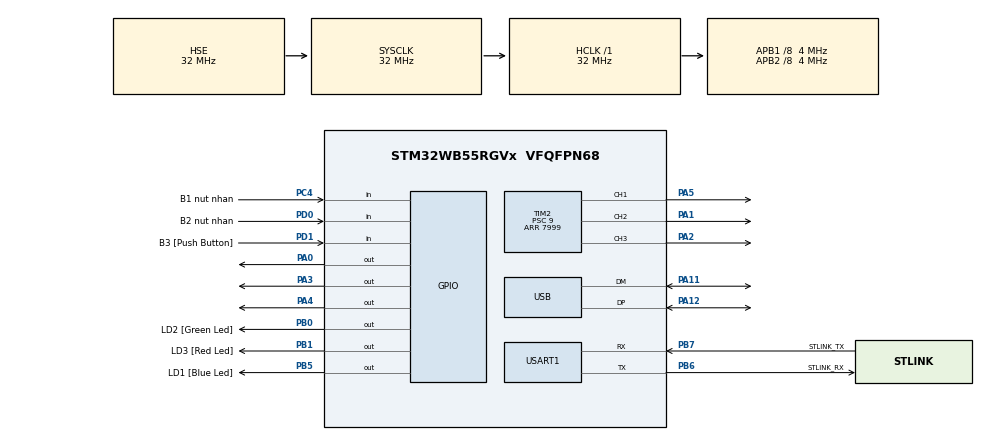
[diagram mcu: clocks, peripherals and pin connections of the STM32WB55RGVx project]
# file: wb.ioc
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Mcu.Family=STM32WB
Mcu.Name=STM32WB55RGVx
Mcu.Package=VFQFPN68
NVIC.PriorityGroup=NVIC_PRIORITYGROUP_4
NVIC.TIM1_TRG_COM_TIM17_IRQn=true\:0\:0\:false\:false\:true\:true\:true\:true
NVIC.TIM1_UP_TIM16_IRQn=true\:0\:0\:false\:false\:true\:true\:true\:true
NVIC.TIM2_IRQn=true\:0\:0\:false\:false\:true\:true\:true\:true
OSC_IN.Mode=HSE-External-Oscillator
OSC_IN.Signal=RCC_OSC_IN
OSC_OUT.Mode=HSE-External-Oscillator
OSC_OUT.Signal=RCC_OSC_OUT
PA0.Signal=GPIO_Output
PA1.Signal=S_TIM2_CH2
PA11.Mode=Device
PA11.Signal=USB_DM
PA12.Mode=Device
PA12.Signal=USB_DP
PA13.GPIO_Label=JTMS
PA13.Mode=Trace_Asynchronous_SW
PA13.Signal=SYS_JTMS-SWDIO
PA14.GPIO_Label=JTCK
PA14.Mode=Trace_Asynchronous_SW
PA14.Signal=SYS_JTCK-SWCLK
PA2.Signal=S_TIM2_CH3
PA3.PinState=GPIO_PIN_RESET
PA3.Signal=GPIO_Output
PA4.PinState=GPIO_PIN_RESET
PA4.Signal=GPIO_Output
PA5.Signal=S_TIM2_CH1
PB0.GPIO_Label=LD2 [Green Led]
PB0.Signal=GPIO_Output
PB1.GPIO_Label=LD3 [Red Led]
PB1.Signal=GPIO_Output
PB3.GPIO_Label=JTDO
PB3.Mode=Trace_Asynchronous_SW
PB3.Signal=SYS_JTDO-SWO
PB5.GPIO_Label=LD1 [Blue Led]
PB5.Signal=GPIO_Output
PB6.GPIO_Label=STLINK_RX
PB6.GPIO_PuPd=GPIO_PULLUP
PB6.Mode=Asynchronous
PB6.Signal=USART1_TX
PB7.GPIO_Label=STLINK_TX
PB7.GPIO_PuPd=GPIO_PULLUP
PB7.Mode=Asynchronous
PB7.Signal=USART1_RX
PC13.Mode=SYS_WakeUp1
PC13.Signal=SYS_WKUP2
PC14-OSC32_IN.Mode=LSE-External-Oscillator
PC14-OSC32_IN.Signal=RCC_OSC32_IN
PC15-OSC32_OUT.Mode=LSE-External-Oscillator
PC15-OSC32_OUT.Signal=RCC_OSC32_OUT
PC4.GPIO_Label=B1 nut nhan
PC4.Signal=GPIO_Input
PD0.GPIO_Label=B2 nut nhan
PD0.Signal=GPIO_Input
PD1.GPIO_Label=B3 [Push Button]
PD1.Signal=GPIO_Input
ProjectManager.HeapSize=0x200
ProjectManager.StackSize=0x400
ProjectManager.TargetToolchain=STM32CubeIDE
RCC.ADCFreq_Value=48000000
RCC.AHB2CLKDivider=RCC_SYSCLK_DIV4
RCC.AHBFreq_Value=32000000
RCC.APB1CLKDivider=RCC_HCLK_DIV8
RCC.APB1Freq_Value=4000000
RCC.APB1TimFreq_Value=8000000
RCC.APB2CLKDivider=RCC_HCLK_DIV8
RCC.APB2Freq_Value=4000000
RCC.APB2TimFreq_Value=8000000
RCC.APB3Freq_Value=16000000
RCC.CortexFreq_Value=32000000
RCC.HCLKFreq_Value=32000000
RCC.HSE_VALUE=32000000
RCC.HSI48_VALUE=48000000
RCC.HSI_VALUE=16000000
RCC.LSE_Drive_Capability=RCC_LSEDRIVE_LOW
RCC.PLLN=32
RCC.PLLSAI1N=24
RCC.SMPSCLockSelectionVirtual=RCC_SMPSCLKSOURCE_HSI
RCC.SMPSCLockSelectionVirtualVirtual=RCC_SMPSCLKSOURCE_HSI
RCC.SMPSDivider=1
RCC.SYSCLKFreq_VALUE=32000000
RCC.SYSCLKSource=RCC_SYSCLKSOURCE_HSE
RCC.USBFreq_Value=48000000
RCC.VCOOutputFreq_Value=128000000
SH.S_TIM2_CH1.0=TIM2_CH1,PWM Generation1 CH1
SH.S_TIM2_CH2.0=TIM2_CH2,PWM Generation2 CH2
SH.S_TIM2_CH3.0=TIM2_CH3,PWM Generation3 CH3
TIM1.Period=15999
TIM1.Prescaler=9
TIM16.Period=1999
TIM16.Prescaler=9
TIM17.Period=15999
TIM17.Prescaler=9
TIM2.Channel-PWM\ Generation1\ CH1=TIM_CHANNEL_1
TIM2.Channel-PWM\ Generation2\ CH2=TIM_CHANNEL_2
TIM2.Channel-PWM\ Generation3\ CH3=TIM_CHANNEL_3
TIM2.Period=7999
TIM2.Prescaler=9
TIM2.Pulse-PWM\ Generation1\ CH1=1599
TIM2.Pulse-PWM\ Generation2\ CH2=6000
TIM2.Pulse-PWM\ Generation3\ CH3=250
USART1.VirtualMode-Asynchronous=VM_ASYNC
USART1.WordLength=WORDLENGTH_8B
VP_MEMORYMAP_VS_MEMORYMAP.Mode=CurAppReg
VP_TIM16_VS_ClockSourceINT.Mode=Enable_Timer
VP_TIM17_VS_ClockSourceINT.Mode=Enable_Timer
VP_TIM1_VS_ClockSourceINT.Mode=Internal
VP_TIM2_VS_ClockSourceINT.Mode=Internal
board=NUCLEO-WB55RG

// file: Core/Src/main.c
/* USER CODE BEGIN Header */
/**
  ******************************************************************************
  * @file           : main.c
  * @brief          : Main program body
  ******************************************************************************
  * @attention
  *
  * Copyright (c) 2023 STMicroelectronics.
  * All rights reserved.
  *
  * This software is licensed under terms that can be found in the LICENSE file
  * in the root directory of this software component.
  * If no LICENSE file comes with this software, it is provided AS-IS.
  *
  ******************************************************************************
  */
/* USER CODE END Header */
#include "main.h"

TIM_HandleTypeDef htim1;
TIM_HandleTypeDef htim2;
TIM_HandleTypeDef htim16;
TIM_HandleTypeDef htim17;

UART_HandleTypeDef huart1;

PCD_HandleTypeDef hpcd_USB_FS;

void SystemClock_Config(void);
void PeriphCommonClock_Config(void);
static void MX_GPIO_Init(void);
static void MX_USART1_UART_Init(void);
static void MX_USB_PCD_Init(void);
static void MX_MEMORYMAP_Init(void);
static void MX_TIM2_Init(void);
static void MX_TIM1_Init(void);
static void MX_TIM16_Init(void);
static void MX_TIM17_Init(void);

int main(void)
{

  /* MCU Configuration--------------------------------------------------------*/

  /* Reset of all peripherals, Initializes the Flash interface and the Systick. */
  HAL_Init();

  /* Configure the system clock */
  SystemClock_Config();

/* Configure the peripherals common clocks */
  PeriphCommonClock_Config();

  /* Initialize all configured peripherals */
  MX_GPIO_Init();
  MX_USART1_UART_Init();
  MX_USB_PCD_Init();
  MX_MEMORYMAP_Init();
  MX_TIM2_Init();
  MX_TIM1_Init();
  MX_TIM16_Init();
  MX_TIM17_Init();
  /* USER CODE BEGIN 2 */
  HAL_TIM_Base_Start_IT(&htim2);
  HAL_TIM_Base_Start_IT(&htim16);
  HAL_TIM_Base_Start_IT(&htim17);
  HAL_TIM_Base_Start_IT(&htim1);
  HAL_TIM_PWM_Start(&htim2,TIM_CHANNEL_1);
  HAL_TIM_PWM_Start(&htim2,TIM_CHANNEL_2);
  //HAL_TIM_PWM_Start(&htim2,TIM_CHANNEL_3);
  uint16_t var=0,var1=0,var2=0;
  /* USER CODE END 2 */

  /* Infinite loop */
  /* USER CODE BEGIN WHILE */
  while (1)
  {
	  __HAL_TIM_SET_COMPARE(&htim2,TIM_CHANNEL_1,var);
	  __HAL_TIM_SET_COMPARE(&htim2,TIM_CHANNEL_2,var1);
	 // __HAL_TIM_SET_COMPARE(&htim2,TIM_CHANNEL_3,var2);
	  var++;

	 // var2 = var2 + 30;
	  if( var==7999)
	  {

		  HAL_GPIO_WritePin(GPIOA,GPIO_PIN_0,SET);
		  HAL_Delay(200);
		  HAL_GPIO_WritePin(GPIOA,GPIO_PIN_0,RESET);

	  }
    /* USER CODE END WHILE */

  }
}

void SystemClock_Config(void)
{
  RCC_OscInitTypeDef RCC_OscInitStruct = {0};
  RCC_ClkInitTypeDef RCC_ClkInitStruct = {0};

  /** Macro to configure the PLL multiplication factor
  */
  __HAL_RCC_PLL_PLLM_CONFIG(RCC_PLLM_DIV1);

  /** Macro to configure the PLL clock source
  */
  __HAL_RCC_PLL_PLLSOURCE_CONFIG(RCC_PLLSOURCE_MSI);

  /** Configure LSE Drive Capability
  */
  HAL_PWR_EnableBkUpAccess();
  __HAL_RCC_LSEDRIVE_CONFIG(RCC_LSEDRIVE_LOW);

  /** Configure the main internal regulator output voltage
  */
  __HAL_PWR_VOLTAGESCALING_CONFIG(PWR_REGULATOR_VOLTAGE_SCALE1);

  /** Initializes the RCC Oscillators according to the specified parameters
  * in the RCC_OscInitTypeDef structure.
  */
  RCC_OscInitStruct.OscillatorType = RCC_OSCILLATORTYPE_HSI|RCC_OSCILLATORTYPE_HSE
                              |RCC_OSCILLATORTYPE_LSE|RCC_OSCILLATORTYPE_MSI;
  RCC_OscInitStruct.HSEState = RCC_HSE_ON;
  RCC_OscInitStruct.LSEState = RCC_LSE_ON;
  RCC_OscInitStruct.HSIState = RCC_HSI_ON;
  RCC_OscInitStruct.MSIState = RCC_MSI_ON;
  RCC_OscInitStruct.HSICalibrationValue = RCC_HSICALIBRATION_DEFAULT;
  RCC_OscInitStruct.MSICalibrationValue = RCC_MSICALIBRATION_DEFAULT;
  RCC_OscInitStruct.MSIClockRange = RCC_MSIRANGE_6;
  RCC_OscInitStruct.PLL.PLLState = RCC_PLL_NONE;
  if (HAL_RCC_OscConfig(&RCC_OscInitStruct) != HAL_OK)
  {
    Error_Handler();
  }

  /** Configure the SYSCLKSource, HCLK, PCLK1 and PCLK2 clocks dividers
  */
  RCC_ClkInitStruct.ClockType = RCC_CLOCKTYPE_HCLK4|RCC_CLOCKTYPE_HCLK2
                              |RCC_CLOCKTYPE_HCLK|RCC_CLOCKTYPE_SYSCLK
                              |RCC_CLOCKTYPE_PCLK1|RCC_CLOCKTYPE_PCLK2;
  RCC_ClkInitStruct.SYSCLKSource = RCC_SYSCLKSOURCE_HSE;
  RCC_ClkInitStruct.AHBCLKDivider = RCC_SYSCLK_DIV1;
  RCC_ClkInitStruct.APB1CLKDivider = RCC_HCLK_DIV8;
  RCC_ClkInitStruct.APB2CLKDivider = RCC_HCLK_DIV8;
  RCC_ClkInitStruct.AHBCLK2Divider = RCC_SYSCLK_DIV4;
  RCC_ClkInitStruct.AHBCLK4Divider = RCC_SYSCLK_DIV1;

  if (HAL_RCC_ClockConfig(&RCC_ClkInitStruct, FLASH_LATENCY_1) != HAL_OK)
  {
    Error_Handler();
  }

  /** Enable MSI Auto calibration
  */
  HAL_RCCEx_EnableMSIPLLMode();
}

void PeriphCommonClock_Config(void)
{
  RCC_PeriphCLKInitTypeDef PeriphClkInitStruct = {0};

  /** Initializes the peripherals clock
  */
  PeriphClkInitStruct.PeriphClockSelection = RCC_PERIPHCLK_SMPS;
  PeriphClkInitStruct.SmpsClockSelection = RCC_SMPSCLKSOURCE_HSI;
  PeriphClkInitStruct.SmpsDivSelection = RCC_SMPSCLKDIV_RANGE0;

  if (HAL_RCCEx_PeriphCLKConfig(&PeriphClkInitStruct) != HAL_OK)
  {
    Error_Handler();
  }
}

static void MX_MEMORYMAP_Init(void)
{

}

static void MX_TIM1_Init(void)
{

  TIM_ClockConfigTypeDef sClockSourceConfig = {0};
  TIM_MasterConfigTypeDef sMasterConfig = {0};

  htim1.Instance = TIM1;
  htim1.Init.Prescaler = 9;
  htim1.Init.CounterMode = TIM_COUNTERMODE_UP;
  htim1.Init.Period = 15999;
  htim1.Init.ClockDivision = TIM_CLOCKDIVISION_DIV1;
  htim1.Init.RepetitionCounter = 0;
  htim1.Init.AutoReloadPreload = TIM_AUTORELOAD_PRELOAD_DISABLE;
  if (HAL_TIM_Base_Init(&htim1) != HAL_OK)
  {
    Error_Handler();
  }
  sClockSourceConfig.ClockSource = TIM_CLOCKSOURCE_INTERNAL;
  if (HAL_TIM_ConfigClockSource(&htim1, &sClockSourceConfig) != HAL_OK)
  {
    Error_Handler();
  }
  sMasterConfig.MasterOutputTrigger = TIM_TRGO_RESET;
  sMasterConfig.MasterOutputTrigger2 = TIM_TRGO2_RESET;
  sMasterConfig.MasterSlaveMode = TIM_MASTERSLAVEMODE_DISABLE;
  if (HAL_TIMEx_MasterConfigSynchronization(&htim1, &sMasterConfig) != HAL_OK)
  {
    Error_Handler();
  }

}

static void MX_TIM2_Init(void)
{

  TIM_ClockConfigTypeDef sClockSourceConfig = {0};
  TIM_MasterConfigTypeDef sMasterConfig = {0};
  TIM_OC_InitTypeDef sConfigOC = {0};

  htim2.Instance = TIM2;
  htim2.Init.Prescaler = 9;
  htim2.Init.CounterMode = TIM_COUNTERMODE_UP;
  htim2.Init.Period = 7999;
  htim2.Init.ClockDivision = TIM_CLOCKDIVISION_DIV1;
  htim2.Init.AutoReloadPreload = TIM_AUTORELOAD_PRELOAD_DISABLE;
  if (HAL_TIM_Base_Init(&htim2) != HAL_OK)
  {
    Error_Handler();
  }
  sClockSourceConfig.ClockSource = TIM_CLOCKSOURCE_INTERNAL;
  if (HAL_TIM_ConfigClockSource(&htim2, &sClockSourceConfig) != HAL_OK)
  {
    Error_Handler();
  }
  if (HAL_TIM_PWM_Init(&htim2) != HAL_OK)
  {
    Error_Handler();
  }
  sMasterConfig.MasterOutputTrigger = TIM_TRGO_RESET;
  sMasterConfig.MasterSlaveMode = TIM_MASTERSLAVEMODE_DISABLE;
  if (HAL_TIMEx_MasterConfigSynchronization(&htim2, &sMasterConfig) != HAL_OK)
  {
    Error_Handler();
  }
  sConfigOC.OCMode = TIM_OCMODE_PWM1;
  sConfigOC.Pulse = 1599;
  sConfigOC.OCPolarity = TIM_OCPOLARITY_HIGH;
  sConfigOC.OCFastMode = TIM_OCFAST_DISABLE;
  if (HAL_TIM_PWM_ConfigChannel(&htim2, &sConfigOC, TIM_CHANNEL_1) != HAL_OK)
  {
    Error_Handler();
  }
  sConfigOC.Pulse = 6000;
  if (HAL_TIM_PWM_ConfigChannel(&htim2, &sConfigOC, TIM_CHANNEL_2) != HAL_OK)
  {
    Error_Handler();
  }
  sConfigOC.Pulse = 0;
  if (HAL_TIM_PWM_ConfigChannel(&htim2, &sConfigOC, TIM_CHANNEL_3) != HAL_OK)
  {
    Error_Handler();
  }
  HAL_TIM_MspPostInit(&htim2);

}

static void MX_TIM16_Init(void)
{

  htim16.Instance = TIM16;
  htim16.Init.Prescaler = 9;
  htim16.Init.CounterMode = TIM_COUNTERMODE_UP;
  htim16.Init.Period = 1999;
  htim16.Init.ClockDivision = TIM_CLOCKDIVISION_DIV1;
  htim16.Init.RepetitionCounter = 0;
  htim16.Init.AutoReloadPreload = TIM_AUTORELOAD_PRELOAD_DISABLE;
  if (HAL_TIM_Base_Init(&htim16) != HAL_OK)
  {
    Error_Handler();
  }

}

static void MX_TIM17_Init(void)
{

  htim17.Instance = TIM17;
  htim17.Init.Prescaler = 9;
  htim17.Init.CounterMode = TIM_COUNTERMODE_UP;
  htim17.Init.Period = 15999;
  htim17.Init.ClockDivision = TIM_CLOCKDIVISION_DIV1;
  htim17.Init.RepetitionCounter = 0;
  htim17.Init.AutoReloadPreload = TIM_AUTORELOAD_PRELOAD_DISABLE;
  if (HAL_TIM_Base_Init(&htim17) != HAL_OK)
  {
    Error_Handler();
  }

}

static void MX_USART1_UART_Init(void)
{

  huart1.Instance = USART1;
  huart1.Init.BaudRate = 115200;
  huart1.Init.WordLength = UART_WORDLENGTH_8B;
  huart1.Init.StopBits = UART_STOPBITS_1;
  huart1.Init.Parity = UART_PARITY_NONE;
  huart1.Init.Mode = UART_MODE_TX_RX;
  huart1.Init.HwFlowCtl = UART_HWCONTROL_NONE;
  huart1.Init.OverSampling = UART_OVERSAMPLING_16;
  huart1.Init.OneBitSampling = UART_ONE_BIT_SAMPLE_DISABLE;
  huart1.Init.ClockPrescaler = UART_PRESCALER_DIV1;
  huart1.AdvancedInit.AdvFeatureInit = UART_ADVFEATURE_NO_INIT;
  if (HAL_UART_Init(&huart1) != HAL_OK)
  {
    Error_Handler();
  }
  if (HAL_UARTEx_SetTxFifoThreshold(&huart1, UART_TXFIFO_THRESHOLD_1_8) != HAL_OK)
  {
    Error_Handler();
  }
  if (HAL_UARTEx_SetRxFifoThreshold(&huart1, UART_RXFIFO_THRESHOLD_1_8) != HAL_OK)
  {
    Error_Handler();
  }
  if (HAL_UARTEx_DisableFifoMode(&huart1) != HAL_OK)
  {
    Error_Handler();
  }

}

static void MX_USB_PCD_Init(void)
{

  hpcd_USB_FS.Instance = USB;
  hpcd_USB_FS.Init.dev_endpoints = 8;
  hpcd_USB_FS.Init.speed = PCD_SPEED_FULL;
  hpcd_USB_FS.Init.phy_itface = PCD_PHY_EMBEDDED;
  hpcd_USB_FS.Init.Sof_enable = DISABLE;
  hpcd_USB_FS.Init.low_power_enable = DISABLE;
  hpcd_USB_FS.Init.lpm_enable = DISABLE;
  hpcd_USB_FS.Init.battery_charging_enable = DISABLE;
  if (HAL_PCD_Init(&hpcd_USB_FS) != HAL_OK)
  {
    Error_Handler();
  }

}

static void MX_GPIO_Init(void)
{
  GPIO_InitTypeDef GPIO_InitStruct = {0};

  /* GPIO Ports Clock Enable */
  __HAL_RCC_GPIOC_CLK_ENABLE();
  __HAL_RCC_GPIOA_CLK_ENABLE();
  __HAL_RCC_GPIOB_CLK_ENABLE();
  __HAL_RCC_GPIOD_CLK_ENABLE();

  /*Configure GPIO pin Output Level */
  HAL_GPIO_WritePin(GPIOA, GPIO_PIN_0|GPIO_PIN_3|GPIO_PIN_4, GPIO_PIN_RESET);

  /*Configure GPIO pin Output Level */
  HAL_GPIO_WritePin(GPIOB, LD2_Pin|LD3_Pin|LD1_Pin, GPIO_PIN_RESET);

  /*Configure GPIO pins : PA0 PA3 PA4 */
  GPIO_InitStruct.Pin = GPIO_PIN_0|GPIO_PIN_3|GPIO_PIN_4;
  GPIO_InitStruct.Mode = GPIO_MODE_OUTPUT_PP;
  GPIO_InitStruct.Pull = GPIO_NOPULL;
  GPIO_InitStruct.Speed = GPIO_SPEED_FREQ_LOW;
  HAL_GPIO_Init(GPIOA, &GPIO_InitStruct);

  /*Configure GPIO pin : B1_nut_nhan_Pin */
  GPIO_InitStruct.Pin = B1_nut_nhan_Pin;
  GPIO_InitStruct.Mode = GPIO_MODE_INPUT;
  GPIO_InitStruct.Pull = GPIO_NOPULL;
  HAL_GPIO_Init(B1_nut_nhan_GPIO_Port, &GPIO_InitStruct);

  /*Configure GPIO pins : LD2_Pin LD3_Pin LD1_Pin */
  GPIO_InitStruct.Pin = LD2_Pin|LD3_Pin|LD1_Pin;
  GPIO_InitStruct.Mode = GPIO_MODE_OUTPUT_PP;
  GPIO_InitStruct.Pull = GPIO_NOPULL;
  GPIO_InitStruct.Speed = GPIO_SPEED_FREQ_LOW;
  HAL_GPIO_Init(GPIOB, &GPIO_InitStruct);

  /*Configure GPIO pins : B2_nut_nhan_Pin B3_Pin */
  GPIO_InitStruct.Pin = B2_nut_nhan_Pin|B3_Pin;
  GPIO_InitStruct.Mode = GPIO_MODE_INPUT;
  GPIO_InitStruct.Pull = GPIO_NOPULL;
  HAL_GPIO_Init(GPIOD, &GPIO_InitStruct);

}

/* USER CODE BEGIN 4 */
int counter =100;
int counter1 = 400;
int counter2 = 100;
int counter3 = 100;
void HAL_TIM_PeriodElapsedCallback(TIM_HandleTypeDef *htim)
{
	if(htim->Instance == TIM2)
	{
		if(counter>0)
		{
			counter--;
			if(counter<=0)
			{
				counter=100;
				HAL_GPIO_TogglePin(GPIOB, GPIO_PIN_0);
				//HAL_GPIO_TogglePin(GPIOB, GPIO_PIN_1);
			}
		}
	}
	if(htim->Instance == TIM16)
	{
		if(counter1>0)
		{
			counter1--;
			if(counter1<=0)
			{
				counter1=400;
				//HAL_GPIO_TogglePin(GPIOB, GPIO_PIN_0);
				HAL_GPIO_TogglePin(GPIOB, GPIO_PIN_1);
			}
		}
	}
	if(htim->Instance == TIM17)
	{
		if(counter2>0)
		{
			counter2--;
			if(counter2<=0)
			{
				counter2=100;
				//HAL_GPIO_TogglePin(GPIOB, GPIO_PIN_0);
				HAL_GPIO_TogglePin(GPIOB, GPIO_PIN_5);
			}
		}
	}
	/*if(htim->Instance == TIM1)
		{
			if(counter3>0)
			{
				counter3--;
				if(counter3<=0)
				{
					counter3=100;

					//HAL_GPIO_TogglePin(GPIOB, GPIO_PIN_0);
					HAL_GPIO_TogglePin(GPIOA, GPIO_PIN_0);
					//HAL_GPIO_TogglePin(GPIOA, GPIO_PIN_4);
				}
			}
		}*/

}
void HAL_GPIO_EXTI_Callback(uint16_t GPIO_Pin)
{
	if (HAL_GPIO_ReadPin(GPIOC, GPIO_PIN_4) == GPIO_PIN_RESET) {
	  HAL_GPIO_WritePin(GPIOA, GPIO_PIN_0,1); // Bật/Tắt LED (PA3)
	 }
	else
		HAL_GPIO_WritePin(GPIOA, GPIO_PIN_0,0);

}
/* USER CODE END 4 */

void Error_Handler(void)
{
  __disable_irq();
  while (1)
  {
  }
}
